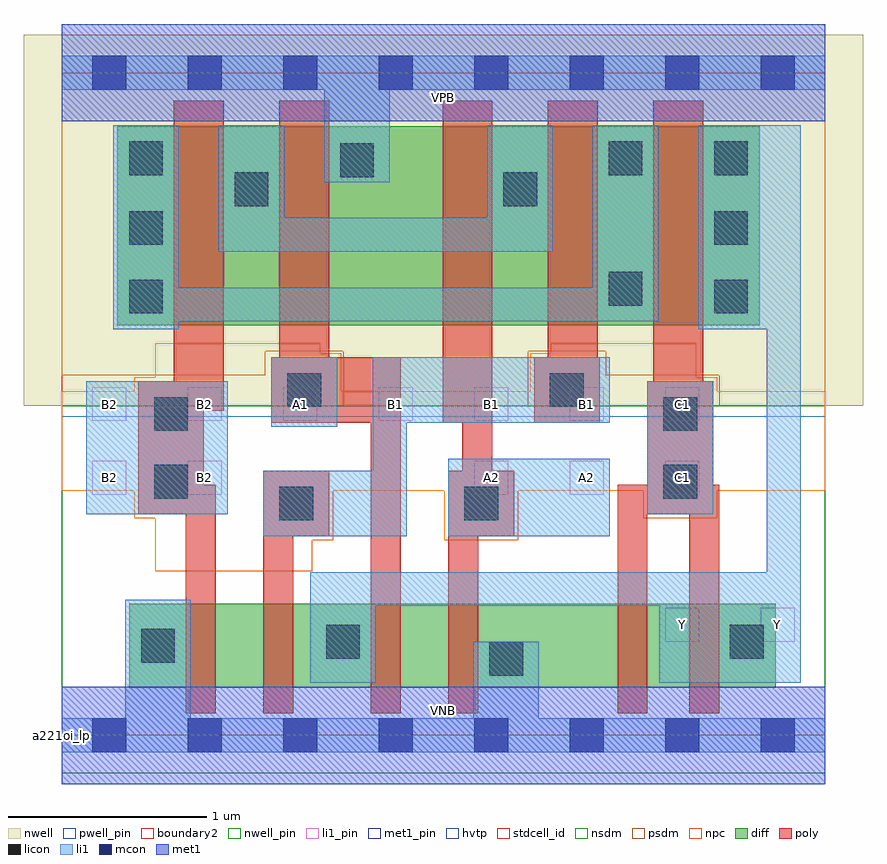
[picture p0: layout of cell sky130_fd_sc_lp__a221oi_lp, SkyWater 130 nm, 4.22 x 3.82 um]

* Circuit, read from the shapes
.subckt sky130_fd_sc_lp__a221oi_lp A1 A2 B1 B2 C1 VGND VNB VPB VPWR Y
XM1 n1 B2 VGND VNB sky130_fd_pr__nfet_01v8 w=0.42 l=0.15
XM2 Y B1 n1 VNB sky130_fd_pr__nfet_01v8 w=0.42 l=0.15
XM3 n2 A1 Y VNB sky130_fd_pr__nfet_01v8 w=0.42 l=0.15
XM4 VGND A2 n2 VNB sky130_fd_pr__nfet_01v8 w=0.42 l=0.15
XM5 n3 C1 VGND VNB sky130_fd_pr__nfet_01v8 w=0.42 l=0.15
XM6 Y C1 n3 VNB sky130_fd_pr__nfet_01v8 w=0.42 l=0.15
XM7 n4 B2 n5 VPB sky130_fd_pr__pfet_01v8_hvt w=1 l=0.25
XM8 VPWR A1 n4 VPB sky130_fd_pr__pfet_01v8_hvt w=1 l=0.25
XM9 n4 A2 VPWR VPB sky130_fd_pr__pfet_01v8_hvt w=1 l=0.25
XM10 n5 B1 n4 VPB sky130_fd_pr__pfet_01v8_hvt w=1 l=0.25
XM11 Y C1 n5 VPB sky130_fd_pr__pfet_01v8_hvt w=1 l=0.25
.ends

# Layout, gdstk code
import gdstk
lib = gdstk.Library(unit=1e-6, precision=1e-09)
def R(c, l, rs):  # rectangles x0, y0, x1, y1
    for r in rs: c.add(gdstk.rectangle(r[:2], r[2:], *l))
def A(c, l, x, y, w, h, nx, ny, dx, dy):  # array of equal rectangles
    R(c, l, [(x+i*dx, y+j*dy, x+i*dx+w, y+j*dy+h) for i in range(nx) for j in range(ny)])
def P(c, l, *ps):  # polygons
    for p in ps: c.add(gdstk.Polygon(p, *l))
nwell_pin = (64, 16)
nwell = (64, 20)
diff = (65, 20)
poly = (66, 20)
licon = (66, 44)
li1_pin = (67, 16)
li1 = (67, 20)
mcon = (67, 44)
met1_pin = (68, 16)
met1 = (68, 20)
hvtp = (78, 44)
stdcell_id = (81, 4)
nsdm = (93, 44)
psdm = (94, 20)
npc = (95, 20)
pwell_pin = (122, 16)
boundary2 = (236, 0)

sky130_fd_sc_lp__a221oi_ = lib.new_cell('sky130_fd_sc_lp__a221oi_lp')
R(sky130_fd_sc_lp__a221oi_, nwell_pin, [(0,3.085,3.84,3.33)])
R(sky130_fd_sc_lp__a221oi_, nwell, [(-0.19,1.655,4.03,3.52)])
R(sky130_fd_sc_lp__a221oi_, diff, [(0.34,0.24,3.59,0.66), (0.28,2.06,3.51,3.06)])
P(sky130_fd_sc_lp__a221oi_, poly, [(0.815,3.19),(0.565,3.19),(0.565,1.78),(0.385,1.78),(0.385,1.11),(0.625,1.11),(0.625,0.11),(0.775,0.11),(0.775,1.26),(0.715,1.26),(0.715,1.63),(0.815,1.63)],
  [(1.345,1.33),(1.015,1.33),(1.015,0.11),(1.165,0.11),(1.165,1),(1.345,1)],
  [(1.705,1.9),(1.345,1.9),(1.345,3.19),(1.095,3.19),(1.095,1.9),(1.055,1.9),(1.055,1.57),(1.555,1.57),(1.555,0.11),(1.705,0.11)],
  [(2.275,1.33),(2.165,1.33),(2.165,3.19),(1.915,3.19),(1.915,1.57),(2.015,1.57),(2.015,1.33),(1.945,1.33),(1.945,0.11),(2.095,0.11),(2.095,1),(2.275,1)],
  [(2.705,1.9),(2.695,1.9),(2.695,3.19),(2.445,3.19),(2.445,1.9),(2.375,1.9),(2.375,1.57),(2.705,1.57)],
  [(3.305,1.26),(3.275,1.26),(3.275,1.78),(3.225,1.78),(3.225,3.19),(2.975,3.19),(2.975,1.78),(2.945,1.78),(2.945,1.26),(2.795,1.26),(2.795,0.11),(2.945,0.11),(2.945,1.11),(3.155,1.11),(3.155,0.11),(3.305,0.11)])
R(sky130_fd_sc_lp__a221oi_, licon, [(2.15,0.3,2.32,0.47), (0.4,0.365,0.57,0.535), (1.33,0.385,1.5,0.555), (3.36,0.385,3.53,0.555), (1.095,1.08,1.265,1.25), (2.025,1.08,2.195,1.25), (0.465,1.19,0.635,1.36), (3.025,1.19,3.195,1.36), (0.465,1.53,0.635,1.7), (3.025,1.53,3.195,1.7), (1.135,1.65,1.305,1.82), (2.455,1.65,2.625,1.82), (0.34,2.12,0.51,2.29), (3.28,2.12,3.45,2.29), (2.75,2.16,2.92,2.33), (0.34,2.465,0.51,2.635), (3.28,2.465,3.45,2.635), (0.87,2.66,1.04,2.83), (2.22,2.66,2.39,2.83), (1.4,2.805,1.57,2.975), (0.34,2.815,0.51,2.985), (2.75,2.815,2.92,2.985), (3.28,2.815,3.45,2.985)])
A(sky130_fd_sc_lp__a221oi_, li1_pin, 2.075, 1.21, 0.17, 0.17, 3, 1, 0.48, 0)
A(sky130_fd_sc_lp__a221oi_, li1_pin, 0.155, 1.58, 0.17, 0.17, 7, 1, 0.48, 0)
R(sky130_fd_sc_lp__a221oi_, li1_pin, [(3.035,0.47,3.205,0.64), (3.515,0.47,3.685,0.64), (0.155,1.21,0.325,1.38), (0.635,1.21,0.805,1.38)])
R(sky130_fd_sc_lp__a221oi_, li1, [(1.945,1,2.755,1.39), (0.125,1.11,0.835,1.78), (2.945,1.11,3.275,1.78), (1.055,1.55,1.385,1.9)])
P(sky130_fd_sc_lp__a221oi_, li1, [(1.32,2.78),(1.32,3.245),(0,3.245),(0,3.415),(3.84,3.415),(3.84,3.245),(1.65,3.245),(1.65,2.78)],
  [(0.32,0.085),(0.32,0.68),(0.65,0.68),(0.65,0.085),(2.07,0.085),(2.07,0.47),(2.4,0.47),(2.4,0.085),(3.84,0.085),(3.84,-0.085),(0,-0.085),(0,0.085)],
  [(3.545,0.82),(3.545,2.04),(3.2,2.04),(3.2,3.065),(3.715,3.065),(3.715,0.265),(3.005,0.265),(3.005,0.65),(1.58,0.65),(1.58,0.265),(1.25,0.265),(1.25,0.82)],
  [(1.565,1.9),(2.755,1.9),(2.755,1.57),(1.735,1.57),(1.735,1),(1.015,1),(1.015,1.33),(1.565,1.33)],
  [(2.67,2.25),(2.67,3.065),(3,3.065),(3,2.08),(0.59,2.08),(0.59,2.04),(0.26,2.04),(0.26,3.065),(0.59,3.065),(0.59,2.25)],
  [(2.14,2.6),(2.14,3.065),(2.47,3.065),(2.47,2.43),(0.79,2.43),(0.79,3.065),(1.12,3.065),(1.12,2.6)])
A(sky130_fd_sc_lp__a221oi_, mcon, 0.155, -0.085, 0.17, 0.17, 8, 2, 0.48, 3.33)
R(sky130_fd_sc_lp__a221oi_, met1_pin, [(0,0,3.84,0.245), (0,3.085,3.84,3.33)])
R(sky130_fd_sc_lp__a221oi_, met1, [(0,-0.245,3.84,0.245), (0,3.085,3.84,3.575)])
R(sky130_fd_sc_lp__a221oi_, hvtp, [(0,1.6,3.84,3.33)])
R(sky130_fd_sc_lp__a221oi_, stdcell_id, [(0,0,3.84,3.33)])
R(sky130_fd_sc_lp__a221oi_, nsdm, [(0,-0.19,3.84,1.655)])
P(sky130_fd_sc_lp__a221oi_, psdm, [(3.84,3.52),(0,3.52),(0,1.81),(1.025,1.81),(1.025,1.93),(1.415,1.93),(1.415,1.655),(2.345,1.655),(2.345,1.93),(2.735,1.93),(2.735,1.81),(3.305,1.81),(3.305,1.655),(3.84,1.655)])
P(sky130_fd_sc_lp__a221oi_, npc, [(3.84,1.73),(3.295,1.73),(3.295,1.8),(3.19,1.8),(3.19,1.97),(2.46,1.97),(2.46,1.92),(2.355,1.92),(2.355,1.73),(1.405,1.73),(1.405,1.92),(1.3,1.92),(1.3,1.97),(0.47,1.97),(0.47,1.8),(0.365,1.8),(0.365,1.73),(0,1.73),(0,1.23),(0.365,1.23),(0.365,1.09),(0.47,1.09),(0.47,0.825),(1.26,0.825),(1.26,0.98),(1.365,0.98),(1.365,1.23),(1.925,1.23),(1.925,0.98),(2.295,0.98),(2.295,1.23),(2.925,1.23),(2.925,1.09),(3.295,1.09),(3.295,1.23),(3.84,1.23)])
R(sky130_fd_sc_lp__a221oi_, pwell_pin, [(0,0,3.84,0.245)])
R(sky130_fd_sc_lp__a221oi_, boundary2, [(0,0,3.84,3.33)])
sky130_fd_sc_lp__a221oi_.add(gdstk.Label('VNB', (1.92,0.123), layer=64, texttype=59))
sky130_fd_sc_lp__a221oi_.add(gdstk.Label('VPB', (1.92,3.208), layer=64, texttype=5))
sky130_fd_sc_lp__a221oi_.add(gdstk.Label('a221oi_lp', (0,0), layer=83, texttype=44))
sky130_fd_sc_lp__a221oi_.add(gdstk.Label('VPWR', (1.92,3.208), layer=68, texttype=5))
sky130_fd_sc_lp__a221oi_.add(gdstk.Label('VGND', (1.92,0.123), layer=68, texttype=5))
sky130_fd_sc_lp__a221oi_.add(gdstk.Label('C1', (3.12,1.295), layer=67, texttype=5))
sky130_fd_sc_lp__a221oi_.add(gdstk.Label('C1', (3.12,1.665), layer=67, texttype=5))
sky130_fd_sc_lp__a221oi_.add(gdstk.Label('Y', (3.12,0.555), layer=67, texttype=5))
sky130_fd_sc_lp__a221oi_.add(gdstk.Label('Y', (3.6,0.555), layer=67, texttype=5))
sky130_fd_sc_lp__a221oi_.add(gdstk.Label('B1', (1.68,1.665), layer=67, texttype=5))
sky130_fd_sc_lp__a221oi_.add(gdstk.Label('B1', (2.16,1.665), layer=67, texttype=5))
sky130_fd_sc_lp__a221oi_.add(gdstk.Label('B1', (2.64,1.665), layer=67, texttype=5))
sky130_fd_sc_lp__a221oi_.add(gdstk.Label('A2', (2.16,1.295), layer=67, texttype=5))
sky130_fd_sc_lp__a221oi_.add(gdstk.Label('A2', (2.64,1.295), layer=67, texttype=5))
sky130_fd_sc_lp__a221oi_.add(gdstk.Label('A1', (1.2,1.665), layer=67, texttype=5))
sky130_fd_sc_lp__a221oi_.add(gdstk.Label('B2', (0.24,1.295), layer=67, texttype=5))
sky130_fd_sc_lp__a221oi_.add(gdstk.Label('B2', (0.24,1.665), layer=67, texttype=5))
sky130_fd_sc_lp__a221oi_.add(gdstk.Label('B2', (0.72,1.295), layer=67, texttype=5))
sky130_fd_sc_lp__a221oi_.add(gdstk.Label('B2', (0.72,1.665), layer=67, texttype=5))

lib.write_gds('sky130_fd_sc_lp__a221oi_lp.gds')
